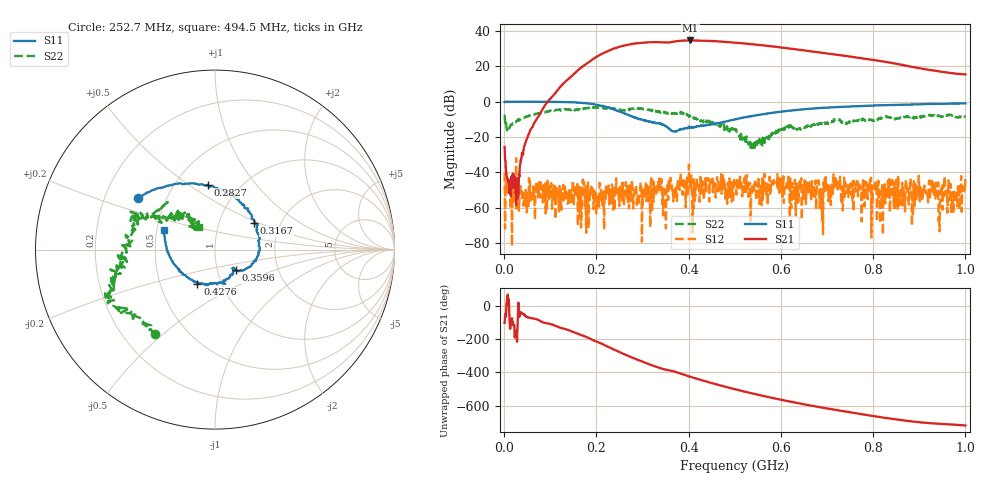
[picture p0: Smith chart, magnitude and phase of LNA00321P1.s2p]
! Created with skrf 1.9.0 (http://scikit-rf.org).
# Hz S RI R 50.0
!freq ReS11 ImS11 ReS21 ImS21 ReS12 ImS12 ReS22 ImS22
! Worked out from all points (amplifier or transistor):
!   1001 points, 1 MHz to 1 GHz, reference 50 ohm
!   highest |S21| = 34.8 dB at 403.6 MHz (marker M1)
!   |S21| within 3 dB of that: 258.9 MHz to 568.7 MHz (309.8 MHz wide, 74.9 % of centre)
!   unconditionally stable (mu >= 1): 26.44 MHz to 71.83 MHz; 243 MHz to 382.4 MHz; 401.1 MHz to end of sweep (the widest 3 of 35)
!   at 166.8 MHz: K = 16.09, MAG = 30.2 dB, |S12| = -71.3 dB
!   at 500.5 MHz: K = 2.09, MAG = 34.3 dB, |S12| = -46.9 dB
!   at 1 GHz: K = 1.73, MAG = 23.8 dB, |S12| = -42.1 dB
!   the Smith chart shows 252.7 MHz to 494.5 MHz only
!   S11 on the Smith chart (normalised r, x): 252.7 MHz: 0.35, +0.27; 282.7 MHz: 0.72, +0.59; 316.7 MHz: 1.47, +0.47; 359.6 MHz: 1.22, -0.29; 427.6 MHz: 0.77, -0.30; 494.5 MHz: 0.55, +0.13
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1000000  0.9852 0.0102  -0.0119 -0.0507  -0.00931 -0.00175  0.3174 0.2845
1.08892e8  0.5046 -0.8541  -0.7853 -1.449  0.0037 -0.002  0.4272 -0.3633
1.67833e8  -0.2596 -0.8939  -9.491 -0.5396  -0.000425 0.000424  0.0313 -0.6262
2.12788e8  -0.7031 -0.3042  -14.58 17.82  -5.46e-05 0.00107  -0.2079 -0.6467
2.31769e8  -0.6457 0.0225  -7.49 29.01  0.00127 -0.000367  -0.2756 -0.5705
2.52748e8  -0.4273 0.2873  7.62 36.32  -0.00155 0.00083  -0.3368 -0.4711
2.82718e8  -0.041 0.3602  32.77 30.01  -0.0022 0.00247  -0.5973 -0.2878
3.16684e8  0.2189 0.1488  48.43 4.935  2.65e-05 -0.000274  -0.5533 -0.1502
3.34666e8  0.2458 -0.00742  48.01 -10.12  -0.00156 0.0028  -0.5112 -0.0483
3.59641e8  0.1154 -0.1146  41.9 -24.18  -0.000626 0.00419  -0.4957 0.0684
3.77623e8  0.1033 -0.1156  38.48 -36.01  -0.00165 0.00362  -0.4666 0.1781
4.03597e8  0.0273 -0.1847  21.21 -50.41  -0.00116 0.0043  -0.3501 0.1962
4.27573e8  -0.0982 -0.1893  3.094 -53.81  -7.43e-05 0.00629  -0.2156 0.1909
4.55545e8  -0.2157 -0.0961  -17.25 -49.23  0.00486 0.00133  -0.1555 0.1958
4.94506e8  -0.2848 0.1069  -35.94 -32.41  0.0045 0.00128  -0.0904 0.1266
5.005e8  -0.2856 0.1366  -37.72 -29.38  -0.00126 0.00435  -0.1026 0.1361
5.39461e8  -0.2007 0.3426  -41.62 -8.736  0.00253 -0.00151  -0.0513 0.0148
5.88412e8  0.0159 0.5013  -34.28 11.5  0.00499 -0.000271  -0.0989 -0.0785
6.67333e8  0.405 0.4933  -12.68 23.28  -0.00522 0.00229  -0.2138 -0.0233
7.53247e8  0.6851 0.2739  3.879 18.41  -0.00222 -0.000241  -0.2716 0.0129
8.34166e8  0.8026 0.00442  9.553 8.907  -0.00254 -0.00319  -0.3593 0.0351
1e9  0.7171 -0.5419  5.968 0.0566  -0.00747 0.00239  -0.1968 0.3013
